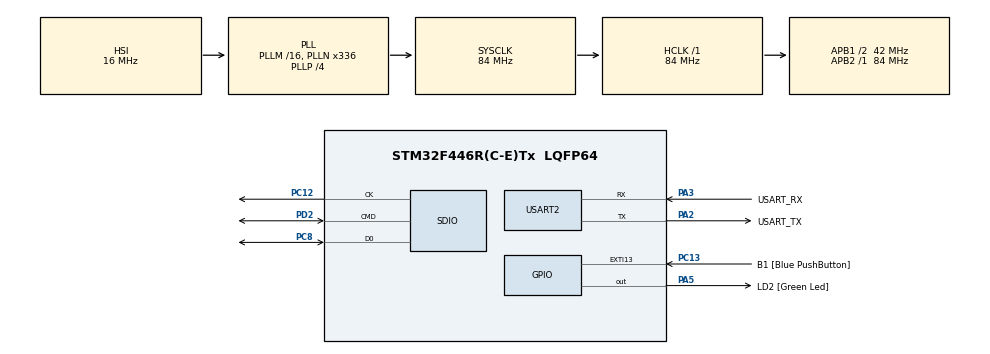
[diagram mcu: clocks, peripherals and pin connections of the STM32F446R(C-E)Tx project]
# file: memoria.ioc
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Dma.Request0=SDIO_RX
Dma.Request1=SDIO_TX
Dma.SDIO_RX.0.Direction=DMA_PERIPH_TO_MEMORY
Dma.SDIO_RX.0.FIFOMode=DMA_FIFOMODE_ENABLE
Dma.SDIO_RX.0.FIFOThreshold=DMA_FIFO_THRESHOLD_FULL
Dma.SDIO_RX.0.Instance=DMA2_Stream3
Dma.SDIO_RX.0.MemBurst=DMA_MBURST_INC4
Dma.SDIO_RX.0.MemDataAlignment=DMA_MDATAALIGN_WORD
Dma.SDIO_RX.0.MemInc=DMA_MINC_ENABLE
Dma.SDIO_RX.0.Mode=DMA_PFCTRL
Dma.SDIO_RX.0.PeriphBurst=DMA_PBURST_INC4
Dma.SDIO_RX.0.PeriphDataAlignment=DMA_PDATAALIGN_WORD
Dma.SDIO_RX.0.PeriphInc=DMA_PINC_DISABLE
Dma.SDIO_RX.0.Priority=DMA_PRIORITY_HIGH
Dma.SDIO_TX.1.Direction=DMA_MEMORY_TO_PERIPH
Dma.SDIO_TX.1.FIFOMode=DMA_FIFOMODE_ENABLE
Dma.SDIO_TX.1.FIFOThreshold=DMA_FIFO_THRESHOLD_FULL
Dma.SDIO_TX.1.Instance=DMA2_Stream6
Dma.SDIO_TX.1.MemBurst=DMA_MBURST_INC4
Dma.SDIO_TX.1.MemDataAlignment=DMA_MDATAALIGN_WORD
Dma.SDIO_TX.1.MemInc=DMA_MINC_ENABLE
Dma.SDIO_TX.1.Mode=DMA_PFCTRL
Dma.SDIO_TX.1.PeriphBurst=DMA_PBURST_INC4
Dma.SDIO_TX.1.PeriphDataAlignment=DMA_PDATAALIGN_WORD
Dma.SDIO_TX.1.PeriphInc=DMA_PINC_DISABLE
Dma.SDIO_TX.1.Priority=DMA_PRIORITY_HIGH
Mcu.Family=STM32F4
Mcu.Name=STM32F446R(C-E)Tx
Mcu.Package=LQFP64
NVIC.DMA2_Stream3_IRQn=true\:0\:0\:false\:false\:true\:false\:true\:true
NVIC.DMA2_Stream6_IRQn=true\:0\:0\:false\:false\:true\:false\:true\:true
NVIC.PriorityGroup=NVIC_PRIORITYGROUP_0
PA13.GPIO_Label=TMS
PA13.Signal=SYS_JTMS-SWDIO
PA14.GPIO_Label=TCK
PA14.Signal=SYS_JTCK-SWCLK
PA2.GPIO_Label=USART_TX
PA2.Mode=Asynchronous
PA2.Signal=USART2_TX
PA3.GPIO_Label=USART_RX
PA3.Mode=Asynchronous
PA3.Signal=USART2_RX
PA5.GPIO_Label=LD2 [Green Led]
PA5.Signal=GPIO_Output
PB3.GPIO_Label=SWO
PB3.Signal=SYS_JTDO-SWO
PC12.Mode=mmc_1_bit
PC12.Signal=SDIO_CK
PC13.GPIO_Label=B1 [Blue PushButton]
PC13.GPIO_ModeDefaultEXTI=GPIO_MODE_IT_FALLING
PC13.Signal=GPXTI13
PC14-OSC32_IN.Signal=RCC_OSC32_IN
PC15-OSC32_OUT.Signal=RCC_OSC32_OUT
PC8.Mode=mmc_1_bit
PC8.Signal=SDIO_D0
PD2.Mode=mmc_1_bit
PD2.Signal=SDIO_CMD
PH0-OSC_IN.Signal=RCC_OSC_IN
PH1-OSC_OUT.Signal=RCC_OSC_OUT
ProjectManager.HeapSize=0x200
ProjectManager.StackSize=0x400
ProjectManager.TargetToolchain=STM32CubeIDE
RCC.AHBFreq_Value=84000000
RCC.APB1CLKDivider=RCC_HCLK_DIV2
RCC.APB1Freq_Value=42000000
RCC.APB1TimFreq_Value=84000000
RCC.APB2Freq_Value=84000000
RCC.APB2TimFreq_Value=84000000
RCC.CortexFreq_Value=84000000
RCC.FLatency-AdvancedSettings=FLASH_LATENCY_2
RCC.HCLKFreq_Value=84000000
RCC.HSE_VALUE=8000000
RCC.HSI_VALUE=16000000
RCC.LSE_VALUE=32768
RCC.PLLN=336
RCC.PLLP=RCC_PLLP_DIV4
RCC.PLLQ=7
RCC.SYSCLKFreq_VALUE=84000000
RCC.SYSCLKSource=RCC_SYSCLKSOURCE_PLLCLK
RCC.USBFreq_Value=48000000
RCC.VCOOutputFreq_Value=336000000
SDIO.HardwareFlowControl=SDIO_HARDWARE_FLOW_CONTROL_ENABLE
USART2.VirtualMode=VM_ASYNC
board=NUCLEO-F446RE

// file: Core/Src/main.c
/* USER CODE BEGIN Header */
/**
  ******************************************************************************
  * @file           : main.c
  * @brief          : Main program body
  ******************************************************************************
  * @attention
  *
  * Copyright (c) 2025 STMicroelectronics.
  * All rights reserved.
  *
  * This software is licensed under terms that can be found in the LICENSE file
  * in the root directory of this software component.
  * If no LICENSE file comes with this software, it is provided AS-IS.
  *
  ******************************************************************************
  */
/* USER CODE END Header */
#include "main.h"

/* USER CODE BEGIN Includes */
#include <stdio.h>
#include <string.h>
/* USER CODE END Includes */

MMC_HandleTypeDef hmmc;
DMA_HandleTypeDef hdma_sdio_rx;
DMA_HandleTypeDef hdma_sdio_tx;

UART_HandleTypeDef huart2;

void SystemClock_Config(void);
static void MX_GPIO_Init(void);
static void MX_DMA_Init(void);
static void MX_USART2_UART_Init(void);
static void MX_SDIO_MMC_Init(void);

int main(void)
{

  /* MCU Configuration--------------------------------------------------------*/

  /* Reset of all peripherals, Initializes the Flash interface and the Systick. */
  HAL_Init();

  /* Configure the system clock */
  SystemClock_Config();

  /* Initialize all configured peripherals */
  MX_GPIO_Init();
  MX_DMA_Init();
  MX_USART2_UART_Init();
  MX_SDIO_MMC_Init();
  /* USER CODE BEGIN 2 */
  char startingMsg[] = "\r\n Starting...\r\n";
  HAL_UART_Transmit(&huart2, (uint8_t*)startingMsg, strlen(startingMsg), HAL_MAX_DELAY);

  HAL_MMC_CardInfoTypeDef mmcInfo;
  uint8_t txBuffer[512];
  uint8_t rxBuffer[512];
  uint32_t testBlock = 0;  // endereço do bloco/setor a ser testado (a eMMC usa endereços de 512B por padrão)

  // Preenche buffer de escrita com um padrão conhecido
  for (int i = 0; i < 512; ++i) {
      txBuffer[i] = (uint8_t)(i & 0xFF);
  }

  // Inicializa a eMMC via HAL (já configurado pelo CubeMX)
  if (HAL_MMC_Init(&hmmc) != HAL_OK) {
      char errorMsg[] = "Erro na inicialização da eMMC\r\n";
      HAL_UART_Transmit(&huart2, (uint8_t*)errorMsg, strlen(errorMsg), HAL_MAX_DELAY);
      Error_Handler();
  } else {
      char okMsg[] = "inicialização da eMMC ok\r\n";
      HAL_UART_Transmit(&huart2, (uint8_t*)okMsg, strlen(okMsg), HAL_MAX_DELAY);
  }

  // (Opcional) Obtém informações do cartão, como número de blocos, tamanho:
  HAL_MMC_GetCardInfo(&hmmc, &mmcInfo);
  char infoMsg[100];
  snprintf((char *)infoMsg, sizeof(infoMsg),
		  "eMMC inicializada: %lu MB, %lu blocos de %lu bytes\r\n",
		  mmcInfo.LogBlockNbr / 2048, // converte blocos de 512B em MB
		  mmcInfo.LogBlockNbr, mmcInfo.LogBlockSize);
  HAL_UART_Transmit(&huart2, (uint8_t*)infoMsg, strlen(infoMsg), HAL_MAX_DELAY);

  // Configura barramento de 4 bits, caso ainda não esteja configurado
  HAL_MMC_ConfigWideBusOperation(&hmmc, SDIO_BUS_WIDE_4B);

  // --- Escrita de um bloco via DMA ---
  if (HAL_MMC_WriteBlocks_DMA(&hmmc, txBuffer, testBlock, 1) != HAL_OK) {
      char okMsg[] = "Falha ao iniciar escrita DMA\r\n";
      HAL_UART_Transmit(&huart2, (uint8_t*)okMsg, strlen(okMsg), HAL_MAX_DELAY);
  } else {
      // Aguarda transferência terminar
      while (HAL_MMC_GetCardState(&hmmc) != HAL_MMC_CARD_TRANSFER) {
          // Aguarde até o cartão estar em estado pronto (TRANSFER OK):contentReference[oaicite:16]{index=16}
          // Poderia-se checar timeout aqui para evitar loop travado
      }
      char okMsg[50];
      snprintf((char *)okMsg, sizeof(okMsg),"Bloco %lu escrito com sucesso\r\n", testBlock);
      HAL_UART_Transmit(&huart2, (uint8_t*)okMsg, strlen(okMsg), HAL_MAX_DELAY);
  }

  HAL_Delay(1000);

  // --- Leitura do bloco de volta via DMA ---
  if (HAL_MMC_ReadBlocks_DMA(&hmmc, rxBuffer, testBlock, 1) != HAL_OK) {
      char okMsg[] = "Falha ao iniciar leitura DMA\r\n";
      HAL_UART_Transmit(&huart2, (uint8_t*)okMsg, strlen(okMsg), HAL_MAX_DELAY);
  } else {
      while (HAL_MMC_GetCardState(&hmmc) != HAL_MMC_CARD_TRANSFER) {
          // Espera fim da leitura (estado TRANSFER):contentReference[oaicite:17]{index=17}
      }
      char okMsg[50];
      snprintf((char *)okMsg, sizeof(okMsg),"Bloco %lu lido com sucesso\r\n", testBlock);
      HAL_UART_Transmit(&huart2, (uint8_t*)okMsg, strlen(okMsg), HAL_MAX_DELAY);
  }

  // --- Verificação dos dados lidos ---
  if (memcmp(rxBuffer, txBuffer, 512) == 0) {
      char okMsg[50];
      snprintf((char *)okMsg, sizeof(okMsg),"Dados OK: bloco %lu corresponde ao escrito\r\n", testBlock);
      HAL_UART_Transmit(&huart2, (uint8_t*)okMsg, strlen(okMsg), HAL_MAX_DELAY);
  } else {
	  char notOkMsg[55];
	  snprintf((char *)notOkMsg, sizeof(notOkMsg),"Erro: dados lidos diferentes do escrito no bloco %lu\r\n", testBlock);
	  HAL_UART_Transmit(&huart2, (uint8_t*)notOkMsg, strlen(notOkMsg), HAL_MAX_DELAY);
      // (Opcional: imprimir conteúdo para debug)
  }

  char startMsg[] = "\r\n In While...\r\n";
  HAL_UART_Transmit(&huart2, (uint8_t*)startMsg, strlen(startMsg), HAL_MAX_DELAY);
  /* USER CODE END 2 */

  /* Infinite loop */
  /* USER CODE BEGIN WHILE */
  while (1)
  {

	  HAL_GPIO_TogglePin(GPIOA, GPIO_PIN_5);
	  HAL_Delay(1000);
    /* USER CODE END WHILE */

  }
}

void SystemClock_Config(void)
{
  RCC_OscInitTypeDef RCC_OscInitStruct = {0};
  RCC_ClkInitTypeDef RCC_ClkInitStruct = {0};

  /** Configure the main internal regulator output voltage
  */
  __HAL_RCC_PWR_CLK_ENABLE();
  __HAL_PWR_VOLTAGESCALING_CONFIG(PWR_REGULATOR_VOLTAGE_SCALE3);

  /** Initializes the RCC Oscillators according to the specified parameters
  * in the RCC_OscInitTypeDef structure.
  */
  RCC_OscInitStruct.OscillatorType = RCC_OSCILLATORTYPE_HSI;
  RCC_OscInitStruct.HSIState = RCC_HSI_ON;
  RCC_OscInitStruct.HSICalibrationValue = RCC_HSICALIBRATION_DEFAULT;
  RCC_OscInitStruct.PLL.PLLState = RCC_PLL_ON;
  RCC_OscInitStruct.PLL.PLLSource = RCC_PLLSOURCE_HSI;
  RCC_OscInitStruct.PLL.PLLM = 16;
  RCC_OscInitStruct.PLL.PLLN = 336;
  RCC_OscInitStruct.PLL.PLLP = RCC_PLLP_DIV4;
  RCC_OscInitStruct.PLL.PLLQ = 7;
  RCC_OscInitStruct.PLL.PLLR = 2;
  if (HAL_RCC_OscConfig(&RCC_OscInitStruct) != HAL_OK)
  {
    Error_Handler();
  }

  /** Initializes the CPU, AHB and APB buses clocks
  */
  RCC_ClkInitStruct.ClockType = RCC_CLOCKTYPE_HCLK|RCC_CLOCKTYPE_SYSCLK
                              |RCC_CLOCKTYPE_PCLK1|RCC_CLOCKTYPE_PCLK2;
  RCC_ClkInitStruct.SYSCLKSource = RCC_SYSCLKSOURCE_PLLCLK;
  RCC_ClkInitStruct.AHBCLKDivider = RCC_SYSCLK_DIV1;
  RCC_ClkInitStruct.APB1CLKDivider = RCC_HCLK_DIV2;
  RCC_ClkInitStruct.APB2CLKDivider = RCC_HCLK_DIV1;

  if (HAL_RCC_ClockConfig(&RCC_ClkInitStruct, FLASH_LATENCY_2) != HAL_OK)
  {
    Error_Handler();
  }
}

static void MX_SDIO_MMC_Init(void)
{

  hmmc.Instance = SDIO;
  hmmc.Init.ClockEdge = SDIO_CLOCK_EDGE_RISING;
  hmmc.Init.ClockBypass = SDIO_CLOCK_BYPASS_DISABLE;
  hmmc.Init.ClockPowerSave = SDIO_CLOCK_POWER_SAVE_DISABLE;
  hmmc.Init.BusWide = SDIO_BUS_WIDE_1B;
  hmmc.Init.HardwareFlowControl = SDIO_HARDWARE_FLOW_CONTROL_ENABLE;
  hmmc.Init.ClockDiv = 0;
  if (HAL_MMC_Init(&hmmc) != HAL_OK)
  {
    Error_Handler();
  }

}

static void MX_USART2_UART_Init(void)
{

  huart2.Instance = USART2;
  huart2.Init.BaudRate = 115200;
  huart2.Init.WordLength = UART_WORDLENGTH_8B;
  huart2.Init.StopBits = UART_STOPBITS_1;
  huart2.Init.Parity = UART_PARITY_NONE;
  huart2.Init.Mode = UART_MODE_TX_RX;
  huart2.Init.HwFlowCtl = UART_HWCONTROL_NONE;
  huart2.Init.OverSampling = UART_OVERSAMPLING_16;
  if (HAL_UART_Init(&huart2) != HAL_OK)
  {
    Error_Handler();
  }

}

static void MX_DMA_Init(void)
{

  /* DMA controller clock enable */
  __HAL_RCC_DMA2_CLK_ENABLE();

  /* DMA interrupt init */
  /* DMA2_Stream3_IRQn interrupt configuration */
  HAL_NVIC_SetPriority(DMA2_Stream3_IRQn, 0, 0);
  HAL_NVIC_EnableIRQ(DMA2_Stream3_IRQn);
  /* DMA2_Stream6_IRQn interrupt configuration */
  HAL_NVIC_SetPriority(DMA2_Stream6_IRQn, 0, 0);
  HAL_NVIC_EnableIRQ(DMA2_Stream6_IRQn);

}

static void MX_GPIO_Init(void)
{
  GPIO_InitTypeDef GPIO_InitStruct = {0};

  /* GPIO Ports Clock Enable */
  __HAL_RCC_GPIOC_CLK_ENABLE();
  __HAL_RCC_GPIOH_CLK_ENABLE();
  __HAL_RCC_GPIOA_CLK_ENABLE();
  __HAL_RCC_GPIOD_CLK_ENABLE();
  __HAL_RCC_GPIOB_CLK_ENABLE();

  /*Configure GPIO pin Output Level */
  HAL_GPIO_WritePin(LD2_GPIO_Port, LD2_Pin, GPIO_PIN_RESET);

  /*Configure GPIO pin : B1_Pin */
  GPIO_InitStruct.Pin = B1_Pin;
  GPIO_InitStruct.Mode = GPIO_MODE_IT_FALLING;
  GPIO_InitStruct.Pull = GPIO_NOPULL;
  HAL_GPIO_Init(B1_GPIO_Port, &GPIO_InitStruct);

  /*Configure GPIO pin : LD2_Pin */
  GPIO_InitStruct.Pin = LD2_Pin;
  GPIO_InitStruct.Mode = GPIO_MODE_OUTPUT_PP;
  GPIO_InitStruct.Pull = GPIO_NOPULL;
  GPIO_InitStruct.Speed = GPIO_SPEED_FREQ_LOW;
  HAL_GPIO_Init(LD2_GPIO_Port, &GPIO_InitStruct);

}

void Error_Handler(void)
{
  __disable_irq();
  while (1)
  {
  }
}
